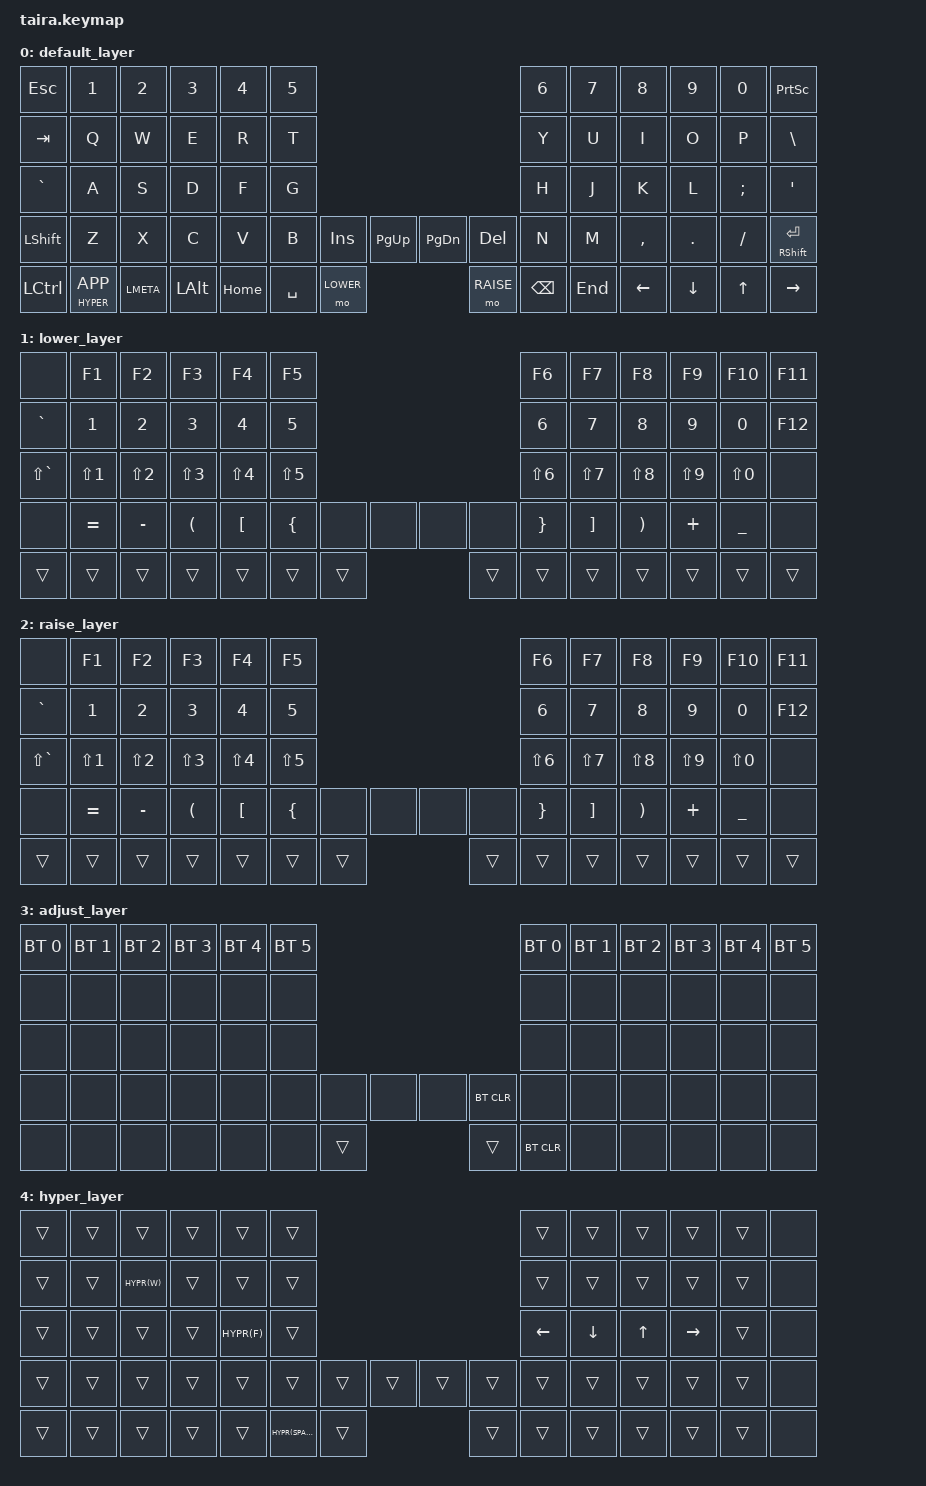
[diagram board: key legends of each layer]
/*
 * Copyright (c) 2020 The ZMK Contributors
 *
 * SPDX-License-Identifier: MIT
 */

#include <behaviors.dtsi>
#include <dt-bindings/zmk/keys.h>
#include <dt-bindings/zmk/outputs.h>
#include <dt-bindings/zmk/bt.h>

#define DEFAULT 0
#define LOWER   1
#define RAISE   2
#define ADJUST  3
#define HYPER   4

#define HYPR(KC) LC(LS(LA(LG(KC))))

/ {

        conditional_layers {
                compatible = "zmk,conditional-layers";

                tri_layer {
                        if-layers  = <1 2>;
                        then-layer = <3>;
                };
        };

        keymap {
                compatible = "zmk,keymap";

                default_layer {
/* QWERTY
 * .----------------------------------------------------------------------------------------------------------------------------------.
 * | ESC  |   1  |   2  |   3  |   4  |   5  |                                              |   6  |   7  |   8  |   9  |   0  | PScr |
 * |-------------+------+------+------+------+------+------+-------+-+-------+-------+------+------+------+------+------+------+------|
 * | `    |   Q  |   W  |   E  |   R  |   T  |                                              |   Y  |   U  |   I  |   O  |   P  |  \   |
 * |-------------+------+------+------+------+------+------+-------+-+-------+-------+------+------+------+------+------+------+------|
 * | Tab  |   A  |   S  |   D  |   F  |   G  |                                              |   H  |   J  |   K  |   L  |   ;  |  '   |
 * |-------------+------+------+------+------+------+------+-------+-+-------+-------+------+------+------+------+------+------+------|
 * | Shift|   Z  |   X  |   C  |   V  |   B  |      | Ins  | PGUP  | | PGDN  | DEL   |      |   N  |   M  |   ,  |   .  |   /  | Shift|
 * |-------------+------+------+------+------+------+------+-------+-+-------+-------+------+------+------+------+------+------+------|
 * | Ctrl | MENU | Meta | Alt  |             | Home |Space | Lower | | Raise | BSPC  | END  |             | LEFT | DOWN | UP   | RIGHT|
 * .----------------------------------------------------------------------------------------------------------------------------------.
 */
                        bindings = <
&kp  ESC    &kp  N1    &kp  N2     &kp  N3     &kp  N4    &kp  N5                                                                        &kp  N6  &kp  N7    &kp  N8     &kp  N9    &kp  N0       &kp  PSCRN
&kp  TAB         &kp  Q     &kp  W      &kp  E      &kp  R     &kp  T                                                                         &kp  Y   &kp  U     &kp  I      &kp  O     &kp  P        &kp  BSLH
&kp  GRAVE       &kp  A     &kp  S      &kp  D      &kp  F     &kp  G                                                                         &kp  H   &kp  J     &kp  K      &kp  L     &kp  SEMI     &kp  SQT
&kp  LSHFT       &kp  Z     &kp  X      &kp  C      &kp  V     &kp  B             &kp  INS    &kp  PG_UP    &kp  PG_DN  &kp  DEL              &kp  N   &kp  M     &kp  COMMA  &kp  DOT   &kp  SLASH    &mt  RSHFT ENTER
&kp  LCTRL       &lt HYPER K_APP  &kp  LMETA   &kp LALT                 &kp HOME  &kp  SPACE  &mo  LOWER    &mo  RAISE  &kp  BSPC &kp   END                       &kp  LEFT   &kp  DOWN  &kp  UP       &kp  RIGHT
                        >;
                };

                lower_layer {
/* QWERTY
 * .----------------------------------------------------------------------------------------------------------------------------------.
 * | ESC  |   1  |   2  |   3  |   4  |   5  |                                              |   6  |   7  |   8  |   9  |   0  | PScr |
 * |-------------+------+------+------+------+------+------+-------+-+-------+-------+------+------+------+------+------+------+------|
 * | `    |   Q  |   W  |   E  |   R  |   T  |                                              |   Y  |   U  |   I  |   O  |   P  |  \   |
 * |-------------+------+------+------+------+------+------+-------+-+-------+-------+------+------+------+------+------+------+------|
 * | Tab  |   A  |   S  |   D  |   F  |   G  |                                              |   H  |   J  |   K  |   L  |   ;  |  '   |
 * |-------------+------+------+------+------+------+------+-------+-+-------+-------+------+------+------+------+------+------+------|
 * | Shift|   Z  |   X  |   C  |   V  |   B  |      | Ins  | PGUP  | | PGDN  | DEL   |      |   N  |   M  |   ,  |   .  |   /  | Shift|
 * |-------------+------+------+------+------+------+------+-------+-+-------+-------+------+------+------+------+------+------+------|
 * | Ctrl | MENU | Meta | Alt  |             | Home |Space | Lower | | Raise | BSPC  | END  |             | LEFT | DOWN | UP   | RIGHT|
 * .----------------------------------------------------------------------------------------------------------------------------------.
 */
                        bindings = <
&none          &kp  F1      &kp  F2      &kp  F3     &kp  F4     &kp  F5                                                                        &kp  F6    &kp  F7    &kp  F8     &kp  F9    &kp  F10      &kp  F11
&kp  GRAVE     &kp  N1      &kp  N2      &kp  N3     &kp  N4     &kp  N5                                                                        &kp  N6    &kp  N7    &kp  N8     &kp  N9    &kp  N0       &kp  F12
&kp  LS(GRAVE) &kp LS(N1)   &kp  LS(N2)  &kp  LS(N3) &kp  LS(N4) &kp  LS(N5)                                                                    &kp LS(N6) &kp LS(N7) &kp LS(N8)  &kp LS(N9) &kp  LS(N0)   &none
&none          &kp EQUAL    &kp MINUS    &kp  LPAR   &kp  LBKT   &kp  LBRC          &none       &none         &none       &none                 &kp RBRC   &kp RBKT   &kp RPAR    &kp PLUS   &kp  UNDER    &none
&trans         &trans       &trans       &trans                           &trans    &trans      &trans        &trans      &trans    &trans                            &trans      &trans     &trans        &trans
                        >;
                };

                raise_layer {
/* QWERTY
 * .----------------------------------------------------------------------------------------------------------------------------------.
 * | ESC  |   1  |   2  |   3  |   4  |   5  |                                              |   6  |   7  |   8  |   9  |   0  | PScr |
 * |-------------+------+------+------+------+------+------+-------+-+-------+-------+------+------+------+------+------+------+------|
 * | `    |   Q  |   W  |   E  |   R  |   T  |                                              |   Y  |   U  |   I  |   O  |   P  |  \   |
 * |-------------+------+------+------+------+------+------+-------+-+-------+-------+------+------+------+------+------+------+------|
 * | Tab  |   A  |   S  |   D  |   F  |   G  |                                              |   H  |   J  |   K  |   L  |   ;  |  '   |
 * |-------------+------+------+------+------+------+------+-------+-+-------+-------+------+------+------+------+------+------+------|
 * | Shift|   Z  |   X  |   C  |   V  |   B  |      | Ins  | PGUP  | | PGDN  | DEL   |      |   N  |   M  |   ,  |   .  |   /  | Shift|
 * |-------------+------+------+------+------+------+------+-------+-+-------+-------+------+------+------+------+------+------+------|
 * | Ctrl | MENU | Meta | Alt  |             | Home |Space | Lower | | Raise | BSPC  | END  |             | LEFT | DOWN | UP   | RIGHT|
 * .----------------------------------------------------------------------------------------------------------------------------------.
 */
                        bindings = <
&none          &kp  F1      &kp  F2      &kp  F3     &kp  F4     &kp  F5                                                                        &kp  F6    &kp  F7    &kp  F8     &kp  F9    &kp  F10      &kp  F11
&kp  GRAVE     &kp  N1      &kp  N2      &kp  N3     &kp  N4     &kp  N5                                                                        &kp  N6    &kp  N7    &kp  N8     &kp  N9    &kp  N0       &kp  F12
&kp  LS(GRAVE) &kp LS(N1)   &kp  LS(N2)  &kp  LS(N3) &kp  LS(N4) &kp  LS(N5)                                                                    &kp LS(N6) &kp LS(N7) &kp LS(N8)  &kp LS(N9) &kp  LS(N0)   &none
&none          &kp EQUAL    &kp MINUS    &kp  LPAR   &kp  LBKT   &kp  LBRC          &none       &none         &none       &none                 &kp RBRC   &kp RBKT   &kp RPAR    &kp PLUS   &kp  UNDER    &none
&trans         &trans       &trans       &trans                           &trans    &trans      &trans        &trans      &trans    &trans                            &trans      &trans     &trans        &trans
                        >;
                };

                adjust_layer {
/* QWERTY
 * .----------------------------------------------------------------------------------------------------------------------------------.
 * | ESC  |   1  |   2  |   3  |   4  |   5  |                                              |   6  |   7  |   8  |   9  |   0  | PScr |
 * |-------------+------+------+------+------+------+------+-------+-+-------+-------+------+------+------+------+------+------+------|
 * | `    |   Q  |   W  |   E  |   R  |   T  |                                              |   Y  |   U  |   I  |   O  |   P  |  \   |
 * |-------------+------+------+------+------+------+------+-------+-+-------+-------+------+------+------+------+------+------+------|
 * | Tab  |   A  |   S  |   D  |   F  |   G  |                                              |   H  |   J  |   K  |   L  |   ;  |  '   |
 * |-------------+------+------+------+------+------+------+-------+-+-------+-------+------+------+------+------+------+------+------|
 * | Shift|   Z  |   X  |   C  |   V  |   B  |      | Ins  | PGUP  | | PGDN  | DEL   |      |   N  |   M  |   ,  |   .  |   /  | Shift|
 * |-------------+------+------+------+------+------+------+-------+-+-------+-------+------+------+------+------+------+------+------|
 * | Ctrl | MENU | Meta | Alt  |             | Home |Space | Lower | | Raise | BSPC  | END  |             | LEFT | DOWN | UP   | RIGHT|
 * .----------------------------------------------------------------------------------------------------------------------------------.
 */
                        bindings = <
&bt BT_SEL 0 &bt BT_SEL 1 &bt BT_SEL 2 &bt BT_SEL 3 &bt BT_SEL 4 &bt BT_SEL 5                                                                          &bt BT_SEL 0 &bt BT_SEL 1 &bt BT_SEL 2 &bt BT_SEL 3 &bt BT_SEL 4 &bt BT_SEL 5
&none        &none        &none        &none        &none        &none                                                                                 &none        &none        &none        &none        &none        &none
&none        &none        &none        &none        &none        &none                                                                                 &none        &none        &none        &none        &none        &none
&none        &none        &none        &none        &none        &none                     &none       &none         &none       &bt BT_CLR            &none        &none        &none        &none        &none        &none
&none        &none        &none        &none                                     &none     &none       &trans        &trans      &bt BT_CLR     &none                            &none        &none        &none        &none
                        >;
                };

                hyper_layer {
/* QWERTY
 * .----------------------------------------------------------------------------------------------------------------------------------.
 * | ESC  |   1  |   2  |   3  |   4  |   5  |                                              |   6  |   7  |   8  |   9  |   0  | PScr |
 * |-------------+------+------+------+------+------+------+-------+-+-------+-------+------+------+------+------+------+------+------|
 * | `    |   Q  |   W  |   E  |   R  |   T  |                                              |   Y  |   U  |   I  |   O  |   P  |  \   |
 * |-------------+------+------+------+------+------+------+-------+-+-------+-------+------+------+------+------+------+------+------|
 * | Tab  |   A  |   S  |   D  |   F  |   G  |                                              |   H  |   J  |   K  |   L  |   ;  |  '   |
 * |-------------+------+------+------+------+------+------+-------+-+-------+-------+------+------+------+------+------+------+------|
 * | Shift|   Z  |   X  |   C  |   V  |   B  |      | Ins  | PGUP  | | PGDN  | DEL   |      |   N  |   M  |   ,  |   .  |   /  | Shift|
 * |-------------+------+------+------+------+------+------+-------+-+-------+-------+------+------+------+------+------+------+------|
 * | Ctrl | MENU | Meta | Alt  |             | Home |Space | Lower | | Raise | BSPC  | END  |             | LEFT | DOWN | UP   | RIGHT|
 * .----------------------------------------------------------------------------------------------------------------------------------.
 */
                        bindings = <
&trans        &trans     &trans      &trans      &trans      &trans                                                                         &trans   &trans     &trans      &trans     &trans        &none
&trans        &trans     &kp HYPR(W) &trans      &trans      &trans                                                                         &trans   &trans     &trans      &trans     &trans        &none
&trans        &trans     &trans      &trans      &kp HYPR(F) &trans                                                                         &kp LEFT &kp DOWN   &kp UP      &kp RIGHT  &trans        &none
&trans        &trans     &trans      &trans      &trans      &trans             &trans      &trans        &trans      &trans                &trans   &trans     &trans      &trans     &trans        &none
&trans        &trans     &trans      &trans                           &trans    &kp HYPR(SPACE)       &trans        &trans      &trans    &trans                          &trans      &trans     &trans        &none
                        >;
                };
        };
};
